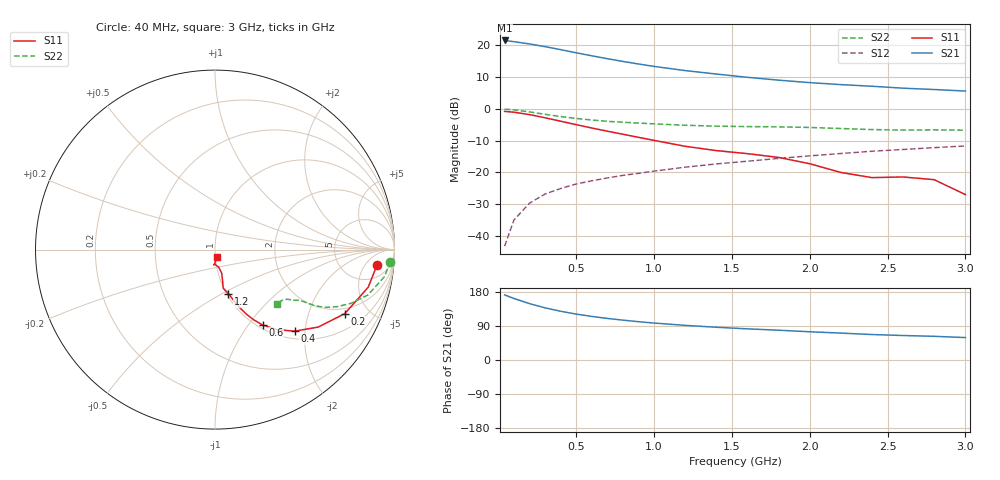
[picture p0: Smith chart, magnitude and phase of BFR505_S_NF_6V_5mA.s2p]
! Filename:  BFR505K.S2P  Version:  3.0
! Philips part #: BFR505  Date: Feb 1992
! Bias condition: Vce=6V, Ic=5mA
#  MHz  S  MA  R  50
! Freq  S11  S21  S12  S22  !GUM [dB]
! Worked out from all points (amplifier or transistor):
!   21 points, 40 MHz to 3 GHz, reference 50 ohm
!   highest |S21| = 21.4 dB at 40 MHz (marker M1)
!   |S21| within 3 dB of that: start of sweep to 412.4 MHz
!   unconditionally stable (mu >= 1): 1.594 GHz to end of sweep
!   at 300 MHz: K = 0.44, MSG = 23.1 dB, |S12| = -26.7 dB
!   at 1 GHz: K = 0.88, MSG = 16.4 dB, |S12| = -19.6 dB
!   at 3 GHz: K = 1.06, MAG = 7.1 dB, |S12| = -11.7 dB
!   lowest NFmin = 1.60 dB at 900 MHz
!   S11 on the Smith chart (normalised r, x): 40 MHz: 10, -10; 200 MHz: 1.71, -3.49; 400 MHz: 1.16, -1.76; 600 MHz: 1.05, -1.17; 1.2 GHz: 1.02, -0.54; 3 GHz: 1.02, -0.09
40  0.906 -5.6  11.7 171.8  0.007 86.3  0.98 -3.9
100  0.879 -13.8  11.19 162.3  0.018 81.4  0.956 -9.1
200  0.806 -26.3  10.32 148.8  0.033 74.5  0.888 -16.6
300  0.719 -36.9  9.359 137.6  0.046 70.9  0.814 -21.6
400  0.635 -45.7  8.398 128.6  0.056 68.5  0.752 -25.0
500  0.561 -52.5  7.491 121.1  0.066 67.6  0.701 -27.3
600  0.497 -57.7  6.727 115.0  0.074 67.1  0.663 -28.6
700  0.443 -61.4  6.055 109.7  0.082 67.3  0.633 -29.4
800  0.397 -64.2  5.485 105.2  0.09 67.4  0.611 -29.8
900  0.355 -66.7  5.005 101.1  0.097 67.6  0.594 -30.1
1000  0.318 -68.9  4.587 97.5  0.105 67.7  0.577 -30.3
1200  0.257 -73.0  3.944 91.4  0.121 68.1  0.549 -31.0
1400  0.22 -78.0  3.482 86.4  0.136 68.4  0.531 -32.1
1600  0.197 -77.2  3.094 82.2  0.15 68.7  0.523 -32.6
1800  0.172 -76.0  2.792 78.6  0.166 69.0  0.518 -33.3
2000  0.137 -74.1  2.555 74.5  0.182 68.3  0.507 -33.5
2200  0.1 -78.1  2.377 71.0  0.198 67.8  0.488 -34.5
2400  0.083 -90.3  2.242 67.2  0.215 67.0  0.47 -36.8
2600  0.085 -94.8  2.09 64.6  0.229 66.6  0.461 -39.4
2800  0.077 -90.8  1.992 62.5  0.245 66.6  0.465 -40.9
3000  0.045 -77.8  1.886 59.2  0.26 65.8  0.459 -41.2
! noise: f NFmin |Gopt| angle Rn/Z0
900  1.6  0.552  16  0.67
2000  2.2  0.412  44  0.51
